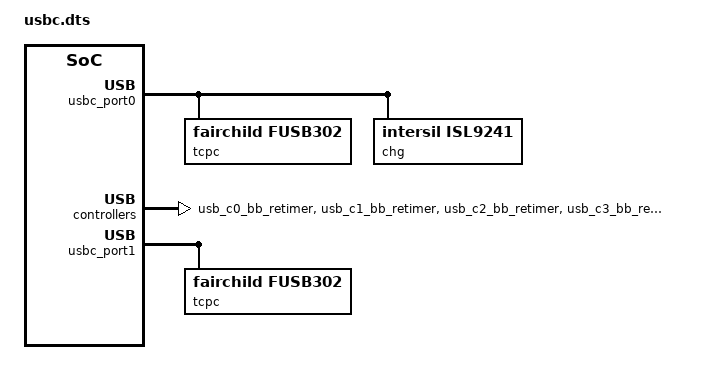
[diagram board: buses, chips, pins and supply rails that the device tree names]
/* Copyright 2022 The Chromium OS Authors. All rights reserved.
 * Use of this source code is governed by a BSD-style license that can be
 * found in the LICENSE file.
 */

/ {
	usbc {
		#address-cells = <1>;
		#size-cells = <0>;
		usbc_port0: port0@0 {
			compatible = "named-usbc-port";
			reg = <0>;
			tcpc {
				compatible = "fairchild,fusb302";
				status = "okay";
				port = <&typec_0>;
				i2c-addr-flags = "FUSB302_I2C_ADDR_FLAGS";
			};
			chg {
				compatible = "intersil,isl9241";
				status = "okay";
				port = <&i2c_charger>;
			};
			usb-muxes = <&usb_c0_bb_retimer &virtual_mux_c0>;
		};
		port0-muxes {
			usb_c0_bb_retimer: jhl8040r-c0 {
				compatible = "intel,jhl8040r";
				port = <&typec_0>;
				i2c-addr-flags = <0x56>;
				reset-pin = <&usb_c0_bb_retimer_rst>;
				ls-en-pin = <&usb_c0_bb_retimer_ls_en>;
			};
			virtual_mux_c0: virtual-mux-c0 {
				compatible = "cros-ec,usbc-mux-virtual";
			};
		};

		usbc_port1: port1@1 {
			compatible = "named-usbc-port";
			reg = <1>;
			tcpc {
				compatible = "fairchild,fusb302";
				status = "okay";
				port = <&typec_1>;
				i2c-addr-flags = "FUSB302_I2C_ADDR_FLAGS";
			};
			usb-muxes = <&usb_c1_bb_retimer &virtual_mux_c1>;
		};
		port1-muxes {
			usb_c1_bb_retimer: jhl8040r-c1 {
				compatible = "intel,jhl8040r";
				port = <&typec_1>;
				i2c-addr-flags = <0x57>;
				reset-pin = <&usb_c1_bb_retimer_rst>;
				ls-en-pin = <&usb_c1_bb_retimer_ls_en>;
			};
			virtual_mux_c1: virtual-mux-c1 {
				compatible = "cros-ec,usbc-mux-virtual";
			};
		};

		port2@2 {
			compatible = "named-usbc-port";
			reg = <2>;
			tcpc {
				compatible = "fairchild,fusb302";
				status = "okay";
				port = <&typec_2>;
				i2c-addr-flags = "FUSB302_I2C_ADDR_FLAGS";
			};
			usb-muxes = <&usb_c2_bb_retimer &virtual_mux_c2>;
		};
		port2-muxes {
			usb_c2_bb_retimer: jhl8040r-c2 {
				compatible = "intel,jhl8040r";
				port = <&typec_2>;
				i2c-addr-flags = <0x58>;
				reset-pin = <&usb_c2_bb_retimer_rst>;
				ls-en-pin = <&usb_c2_bb_retimer_ls_en>;
			};
			virtual_mux_c2: virtual-mux-c2 {
				compatible = "cros-ec,usbc-mux-virtual";
			};
		};

		port3@3 {
			compatible = "named-usbc-port";
			reg = <3>;
			tcpc {
				compatible = "fairchild,fusb302";
				status = "okay";
				port = <&typec_3>;
				i2c-addr-flags = "FUSB302_I2C_ADDR_FLAGS";
			};
			usb-muxes = <&usb_c3_bb_retimer &virtual_mux_c3>;
		};
		port3-muxes {
			usb_c3_bb_retimer: jhl8040r-c3 {
				compatible = "intel,jhl8040r";
				port = <&typec_3>;
				i2c-addr-flags = <0x59>;
				reset-pin = <&usb_c3_bb_retimer_rst>;
				ls-en-pin = <&usb_c3_bb_retimer_ls_en>;
			};
			virtual_mux_c3: virtual-mux-c3 {
				compatible = "cros-ec,usbc-mux-virtual";
			};
		};
	};
};
